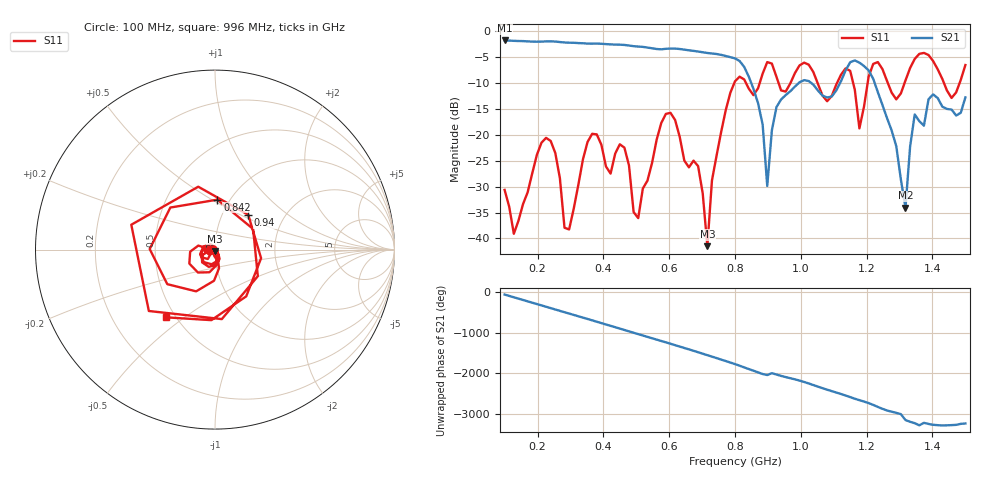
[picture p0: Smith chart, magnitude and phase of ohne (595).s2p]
! NanoVNA-App
! Date: 2025-09-25 14:25:26
! Start: 100MHz Stop: 1,5GHz Points: 101
! S-Parameter data: F S11 S21 S12 S22
# Hz S RI R 50
!  Frequency  S11_Real  S11_Imag  S21_Real  S21_Imag  S12_Real  S12_Imag  S22_Real  S22_Imag
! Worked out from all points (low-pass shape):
!   101 points, 100 MHz to 1.5 GHz, reference 50 ohm
!   highest |S21| = -1.79 dB at 100 MHz (marker M1); lowest = -34.1 dB at 1.318 GHz (marker M2)
!   |S21| within 3 dB of the highest: start of sweep to 771.8 MHz
!   lowest |S11| = -41.5 dB at 716 MHz (marker M3), VSWR 1.02, Z = 49.8 - j0.822 ohm
!   |S11| at or under -10 dB: start of sweep to 797.9 MHz; 833.3 MHz to 875.1 MHz (41.77 MHz wide, 4.89 % of centre); 1.051 GHz to 1.11 GHz (59.13 MHz wide, 5.47 % of centre) (the widest 3 of 7)
!   S12 and S22 are empty: the file has one direction only
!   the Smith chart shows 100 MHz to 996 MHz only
!   S11 on the Smith chart (normalised r, x): 100 MHz: 0.94, -0.01; 842 MHz: 0.88, +0.53; 940 MHz: 1.32, +0.55; 996 MHz: 0.44, -0.43
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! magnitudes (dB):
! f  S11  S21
! 100 MHz  -30.6  -1.8
! 128 MHz  -39.1  -1.9
! 226 MHz  -20.6  -2.0
! 296 MHz  -38.3  -2.2
! 338 MHz  -24.7  -2.3
! 464 MHz  -22.5  -2.7
! 506 MHz  -36.1  -3.0
! 576 MHz  -17.7  -3.5
! 688 MHz  -26.1  -3.9
! 716 MHz  -41.5  -4.2
! 800 MHz  -9.7  -5.3
! 842 MHz  -11.1  -8.8
! 898 MHz  -6.0  -29.9
! 940 MHz  -11.4  -13.2
! 996 MHz  -6.6  -9.9
! 1.038 GHz  -7.9  -10.3
! 1.178 GHz  -18.8  -6.1
! 1.22 GHz  -6.3  -9.2
! 1.276 GHz  -11.9  -19.2
! 1.318 GHz  -9.5  -34.1
! 1.346 GHz  -5.4  -16.1
! 1.5 GHz  -6.5  -12.8
